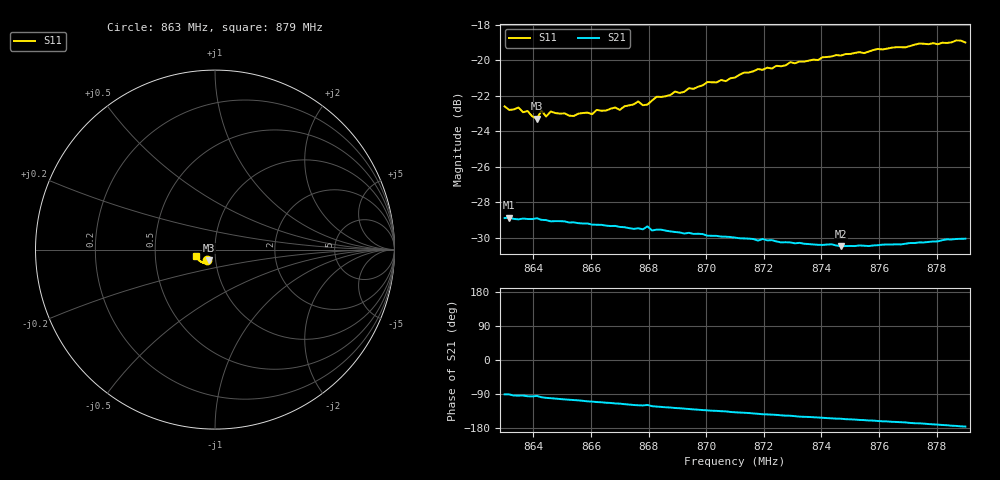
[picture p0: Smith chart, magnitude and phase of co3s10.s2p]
# HZ S RI R 50
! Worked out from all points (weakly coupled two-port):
!   101 points, 863 MHz to 879 MHz, reference 50 ohm
!   highest |S21| = -28.85 dB at 863.16 MHz (marker M1); lowest = -30.5 dB at 874.68 MHz (marker M2)
!   lowest |S11| = -23.3 dB at 864.12 MHz (marker M3), VSWR 1.15, Z = 46.2 - j5.42 ohm
!   |S11| at or under -10 dB: start of sweep to end of sweep
!   S12 and S22 are empty: the file has one direction only
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8.63e8  -0.0469 -0.0575  -0.000348 -0.036  0 0  0 0
8.6316e8  -0.0425 -0.0588  -0.000519 -0.0361  0 0  0 0
8.6348e8  -0.0438 -0.0593  -0.00244 -0.0356  0 0  0 0
8.6412e8  -0.036 -0.0583  -0.00297 -0.0358  0 0  0 0
8.6428e8  -0.0397 -0.0604  -0.00513 -0.0352  0 0  0 0
8.6444e8  -0.0389 -0.0576  -0.00611 -0.035  0 0  0 0
8.646e8  -0.04 -0.0596  -0.0066 -0.0346  0 0  0 0
8.654e8  -0.0375 -0.0588  -0.00947 -0.0337  0 0  0 0
8.6572e8  -0.038 -0.0601  -0.0106 -0.0331  0 0  0 0
8.6684e8  -0.038 -0.0631  -0.0142 -0.0311  0 0  0 0
8.67e8  -0.0376 -0.062  -0.0144 -0.0308  0 0  0 0
8.6764e8  -0.0396 -0.0656  -0.0166 -0.0293  0 0  0 0
8.6796e8  -0.0342 -0.0669  -0.0164 -0.0299  0 0  0 0
8.6812e8  -0.0399 -0.066  -0.0175 -0.0282  0 0  0 0
8.6844e8  -0.0405 -0.0678  -0.0186 -0.0277  0 0  0 0
8.7004e8  -0.0473 -0.073  -0.0219 -0.0235  0 0  0 0
8.71e8  -0.0523 -0.0726  -0.0236 -0.0212  0 0  0 0
8.718e8  -0.0587 -0.0741  -0.0245 -0.0191  0 0  0 0
8.7372e8  -0.0713 -0.0708  -0.0265 -0.0147  0 0  0 0
8.7468e8  -0.0793 -0.0661  -0.0272 -0.0127  0 0  0 0
8.7644e8  -0.0921 -0.0574  -0.029 -0.00883  0 0  0 0
8.79e8  -0.1062 -0.0366  -0.0314 -0.00237  0 0  0 0
